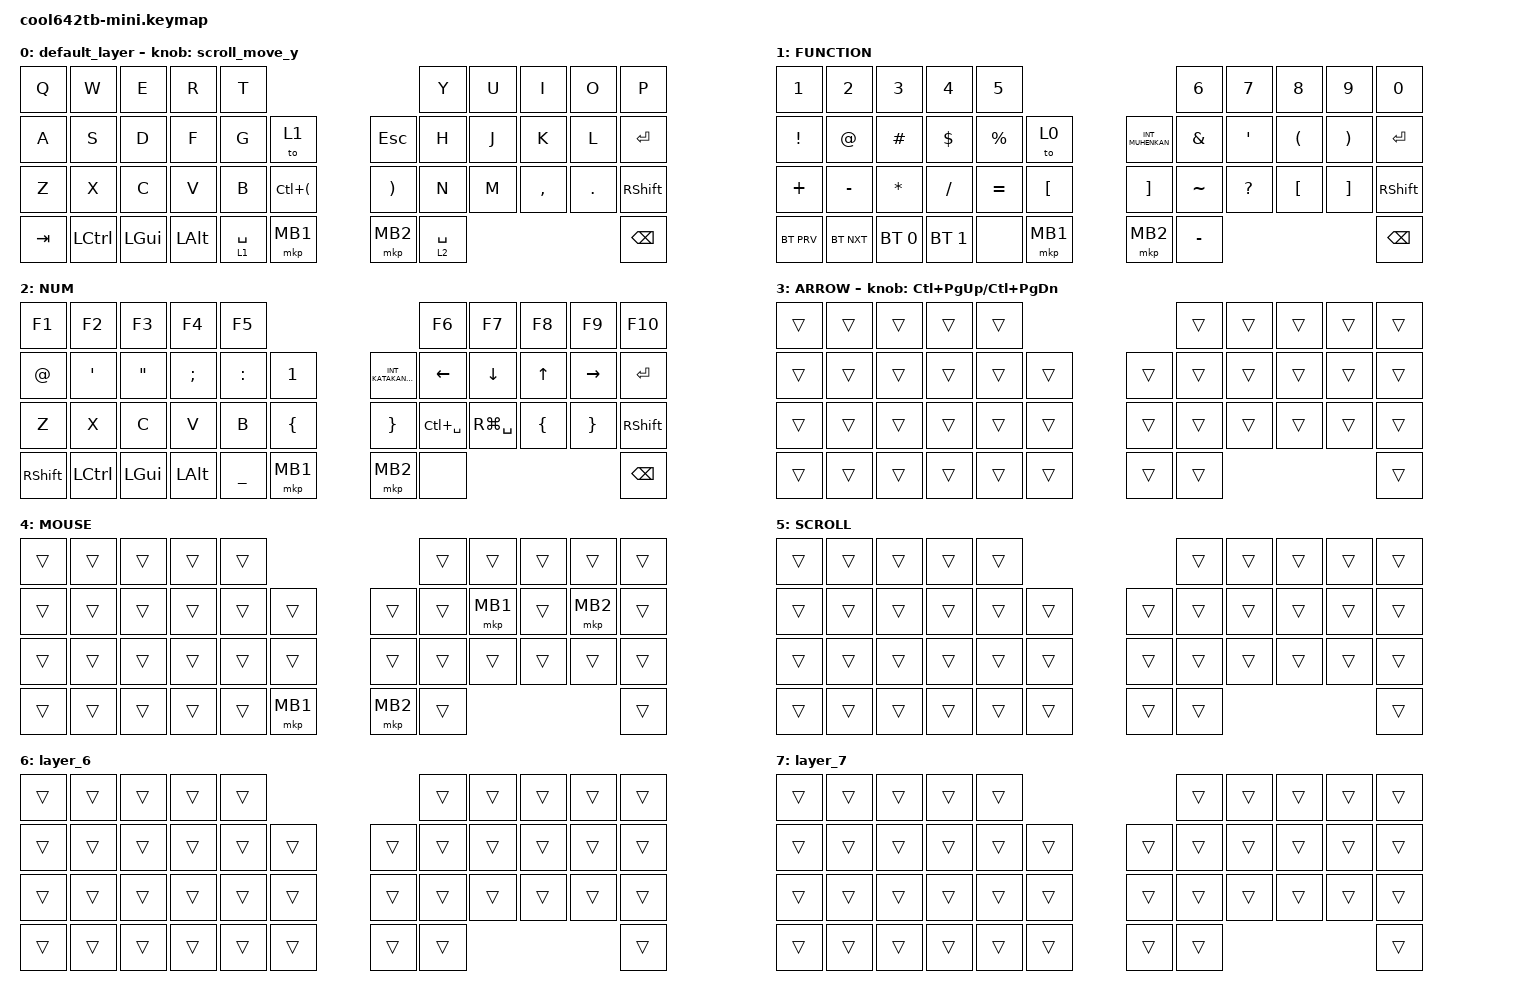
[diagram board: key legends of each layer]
#include <behaviors.dtsi>
#include <dt-bindings/zmk/bt.h>
#include <dt-bindings/zmk/keys.h>
#include <dt-bindings/zmk/pointing.h>

#define MOUSE 4
#define SCROLL 5
#define NUM 6

&mt {
    flavor = "balanced";
    quick-tap-ms = <0>;
};

/ {
    combos {
        Esc {
            bindings = <&kp LS(ESC)>;
            key-positions = <0 1>;
        };

        Tab {
            bindings = <&kp TAB>;
            key-positions = <12 11>;
        };

        CapsLock {
            bindings = <&kp CAPS>;
            key-positions = <22 21>;
        };

        eq {
            bindings = <&bt BT_CLR_ALL>;
            key-positions = <9 10>;
            layers = <1>;
        };

        BS {
            bindings = <&kp BACKSPACE>;
            key-positions = <9 10>;
            layers = <0>;
        };
    };

    macros {
        to_layer_0: to_layer_0 {
            compatible = "zmk,behavior-macro-one-param";
            #binding-cells = <1>;
            bindings = <&to 0 &macro_param_1to1 &kp MACRO_PLACEHOLDER>;
            label = "TO_LAYER_0";
        };
    };

    behaviors {
        lt_to_layer_0: lt_to_layer_0 {
            compatible = "zmk,behavior-hold-tap";
            label = "LAYER_TAP_TO_0";
            bindings = <&mo>, <&to_layer_0>;

            #binding-cells = <2>;
            tapping-term-ms = <200>;
        };

        scroll_up_down: behavior_sensor_rotate_mouse_wheel_up_down {
            compatible = "zmk,behavior-sensor-rotate";
            #sensor-binding-cells = <0>;
            bindings = <&msc SCRL_UP>, <&msc SCRL_DOWN>;

            tap-ms = <20>;
        };

        // エンコーダー：キー

        rot_kp: sensor_rotate_kp {
            compatible = "zmk,behavior-sensor-rotate-var";
            #sensor-binding-cells = <2>;
            bindings = <&kp>, <&kp>;
        };

        // エンコーダー：マウススクロール 

        rot_msc: sensor_rotate_msc {
            compatible = "zmk,behavior-sensor-rotate-var";
            #sensor-binding-cells = <2>;
            tap-ms = <20>;
            bindings = <&msc>, <&msc>;
        };

        // エンコーダー：マウススクロール(MOVE_Y)

        scroll_move_y: sensor_rotate_msc_for_move_y {
            compatible = "zmk,behavior-sensor-rotate";
            #sensor-binding-cells = <0>;
            bindings = <&msc MOVE_Y(20)>, <&msc MOVE_Y(-20)>;

            // tap-ms下限メモ Yの値で可変: Y(15) <81>, Y(20) <65>, Y(25) <49>

            tap-ms = <65>;
        };

        // エンコーダー：マウススクロール(MOVE_X)

        scroll_move_x: sensor_rotate_msc_for_move_x {
            compatible = "zmk,behavior-sensor-rotate";
            #sensor-binding-cells = <0>;
            bindings = <&msc MOVE_X(20)>, <&msc MOVE_X(-20)>;

            // tap-ms下限メモ Xの値で可変: X(15) <81>, X(20) <65>, X(25) <49>

            tap-ms = <65>;
        };
    };

    keymap {
        compatible = "zmk,keymap";

        default_layer {
            bindings = <
&kp Q    &kp W             &kp E         &kp R         &kp T                                                             &kp Y        &kp U  &kp I      &kp O    &kp P
&kp A    &kp S             &kp D         &kp F         &kp G        &to 1                         &kp ESCAPE             &kp H        &kp J  &kp K      &kp L    &kp ENTER
&kp Z    &kp X             &kp C         &kp V         &kp B        &kp LC(LEFT_PARENTHESIS)      &kp RIGHT_PARENTHESIS  &kp N        &kp M  &kp COMMA  &kp DOT  &kp RIGHT_SHIFT
&kp TAB  &kp LEFT_CONTROL  &kp LEFT_GUI  &kp LEFT_ALT  &lt 1 SPACE  &mkp MB1                      &mkp MB2               &lt 2 SPACE                             &kp BACKSPACE
            >;

            sensor-bindings = <&scroll_move_y>;
        };

        FUNCTION {
            bindings = <
&kp N1           &kp N2       &kp N3        &kp N4        &kp N5                                                &kp N6         &kp N7        &kp N8                &kp N9                 &kp N0
&kp EXCLAMATION  &kp AT_SIGN  &kp HASH      &kp DOLLAR    &kp PERCENT  &to 0                 &kp INT_MUHENKAN   &kp AMPERSAND  &kp SQT       &kp LEFT_PARENTHESIS  &kp RIGHT_PARENTHESIS  &kp ENTER
&kp PLUS         &kp MINUS    &kp ASTERISK  &kp SLASH     &kp EQUAL    &kp LEFT_BRACKET      &kp RIGHT_BRACKET  &kp TILDE      &kp QUESTION  &kp LEFT_BRACKET      &kp RIGHT_BRACKET      &kp RIGHT_SHIFT
&bt BT_PRV       &bt BT_NXT   &bt BT_SEL 0  &bt BT_SEL 1  &none        &mkp MB1              &mkp MB2           &kp MINUS                                                                 &kp BACKSPACE
            >;
        };

        sensor-bindings = <&inc_dec_kp C_VOLUME_DOWN C_VOLUME_UP>;

        NUM {
            bindings = <
&kp F1       &kp F2     &kp F3             &kp F4         &kp F5                                                   &kp F6         &kp F7          &kp F8          &kp F9           &kp F10
&kp AT_SIGN  &kp SQT    &kp DOUBLE_QUOTES  &kp SEMICOLON  &kp COLON  &kp N1              &kp INT_KATAKANAHIRAGANA  &kp LEFT       &kp DOWN_ARROW  &kp UP_ARROW    &kp RIGHT        &kp ENTER
&kp Z        &kp X      &kp C              &kp V          &kp B      &kp LEFT_BRACE      &kp RIGHT_BRACE           &kp LC(SPACE)  &kp RG(SPACE)   &kp LEFT_BRACE  &kp RIGHT_BRACE  &kp RIGHT_SHIFT
&kp RSHIFT   &kp LCTRL  &kp LEFT_GUI       &kp LEFT_ALT   &kp UNDER  &mkp MB1            &mkp MB2                  &none                                                           &kp BACKSPACE
            >;
        };

        sensor-bindings = <&inc_dec_kp PG_UP PAGE_DOWN>;

        ARROW {
            bindings = <
&trans  &trans  &trans  &trans  &trans                      &trans  &trans  &trans  &trans  &trans
&trans  &trans  &trans  &trans  &trans  &trans      &trans  &trans  &trans  &trans  &trans  &trans
&trans  &trans  &trans  &trans  &trans  &trans      &trans  &trans  &trans  &trans  &trans  &trans
&trans  &trans  &trans  &trans  &trans  &trans      &trans  &trans                          &trans
            >;

            sensor-bindings = <&inc_dec_kp LC(PAGE_UP) LC(PAGE_DOWN)>;
        };

        MOUSE {
            bindings = <
&trans  &trans  &trans  &trans  &trans                          &trans  &trans    &trans  &trans    &trans
&trans  &trans  &trans  &trans  &trans  &trans        &trans    &trans  &mkp MB1  &trans  &mkp MB2  &trans
&trans  &trans  &trans  &trans  &trans  &trans        &trans    &trans  &trans    &trans  &trans    &trans
&trans  &trans  &trans  &trans  &trans  &mkp MB1      &mkp MB2  &trans                              &trans
            >;
        };

        SCROLL {
            bindings = <
&trans  &trans  &trans  &trans  &trans                      &trans  &trans  &trans  &trans  &trans
&trans  &trans  &trans  &trans  &trans  &trans      &trans  &trans  &trans  &trans  &trans  &trans
&trans  &trans  &trans  &trans  &trans  &trans      &trans  &trans  &trans  &trans  &trans  &trans
&trans  &trans  &trans  &trans  &trans  &trans      &trans  &trans                          &trans
            >;
        };

        layer_6 {
            bindings = <
&trans  &trans  &trans  &trans  &trans                      &trans  &trans  &trans  &trans  &trans
&trans  &trans  &trans  &trans  &trans  &trans      &trans  &trans  &trans  &trans  &trans  &trans
&trans  &trans  &trans  &trans  &trans  &trans      &trans  &trans  &trans  &trans  &trans  &trans
&trans  &trans  &trans  &trans  &trans  &trans      &trans  &trans                          &trans
            >;
        };

        layer_7 {
            bindings = <
&trans  &trans  &trans  &trans  &trans                      &trans  &trans  &trans  &trans  &trans
&trans  &trans  &trans  &trans  &trans  &trans      &trans  &trans  &trans  &trans  &trans  &trans
&trans  &trans  &trans  &trans  &trans  &trans      &trans  &trans  &trans  &trans  &trans  &trans
&trans  &trans  &trans  &trans  &trans  &trans      &trans  &trans                          &trans
            >;
        };
    };
};
